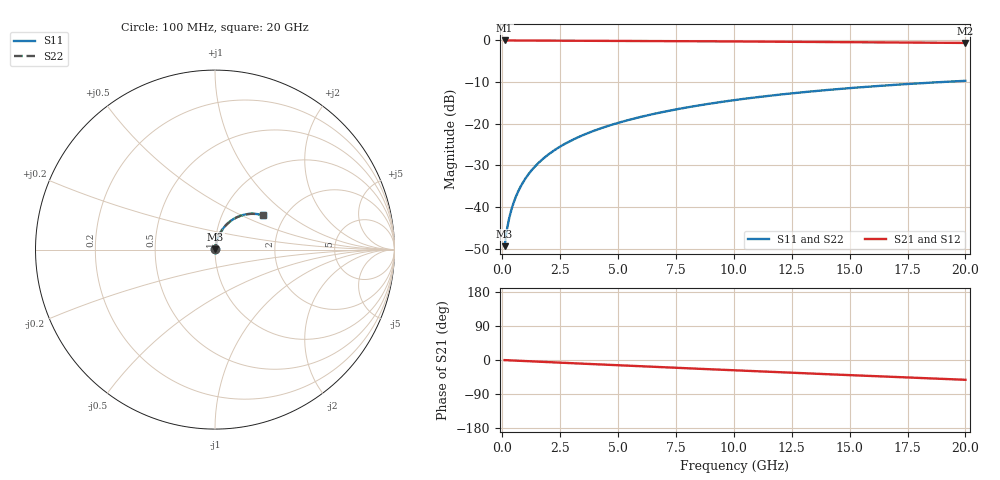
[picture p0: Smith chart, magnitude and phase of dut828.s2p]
! Touchstone file exported from HFSS 2026.1.0
!  File:  C:/ffzhzh/LocalFiles/Ansys_Project_Files/temp_train_BSMRDL_828_1783170163_55132.aedt
!  Generated:  09:04:06 PM Jul  4, 2026
!  Design:  BSMRDL
!  Project:  temp_train_BSMRDL_828_1783170163_55132
! Variables:
!  h_bsmrdl = 5.93um
!  h_ox = 20um
!  h_rdl = 5um
!  h_sub = 80um
!  h_tmrdl = 5um
!  h_tsv = 80um
!  h_via = 3um
!  l_bsmrdl = 868.92um
!  l_sub = 1268.92um
!  l_tmrdl = 200um
!  m_sub = 200um
!  pitch = 43.47um
!  r_tsv = 6um
!  s_tmrdl = 10um
!  w_bsmrdl = 24.48um
!  w_sub = 500um
!  w_tmrdl = 12um
!  x_tsv_center1 = 206um
!  x_tsv_center2 = 1099.4um
!  x_tsv_center3 = 1311.4um
!  x_tsv_center4 = 2204.8um
!  x_tsv_center5 = 2416.8um
!  x_tsv_center6 = 3310.2um
# GHz S MA R 50.000000
! Terminal data exported
! Port[1] = BSM_RDL1_1_T1
! Port[2] = BSM_RDL1_1_T2
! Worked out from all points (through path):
!   200 points, 100 MHz to 20 GHz, reference 50 ohm
!   highest |S21| = -0.02 dB at 100 MHz (marker M1); lowest = -0.6 dB at 20 GHz (marker M2)
!   group delay of S21, straight-line fit = 7.24 ps
!   lowest |S11| = -49.3 dB at 100 MHz (marker M3), VSWR 1.01, Z = 50.2 + j0.247 ohm
!   |S11| at or under -10 dB: start of sweep to 18.94 GHz
!   |S22| runs from -49.3 to -9.7 dB; largest |S21 - S12| = 3.8e-14
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0.1  0.003409 46.1  0.9976 -0.3  0.9976 -0.3  0.003409 46.1
! Gamma 0 0 0 0
! Port Impedance 50 0 50 0
0.2  0.005405 60.9  0.9974 -0.6  0.9974 -0.6  0.005405 60.9
0.3  0.007444 67.4  0.9972 -0.9  0.9972 -0.9  0.007444 67.3
0.4  0.009491 71.1  0.9971 -1.2  0.9971 -1.2  0.009492 71.1
0.5  0.01156 73.6  0.997 -1.4  0.997 -1.4  0.01156 73.6
0.6  0.01364 75.3  0.9969 -1.7  0.9969 -1.7  0.01364 75.3
0.8  0.01784 77.4  0.9967 -2.3  0.9967 -2.3  0.01784 77.4
1.1  0.02418 78.7  0.9963 -3.1  0.9963 -3.1  0.02418 78.7
1.5  0.03261 79.1  0.9957 -4.2  0.9957 -4.2  0.03261 79.1
1.8  0.03889 78.9  0.9952 -5.1  0.9952 -5.1  0.03889 78.9
2.1  0.04512 78.5  0.9946 -5.9  0.9946 -5.9  0.04512 78.5
2.7  0.0574 77.4  0.9933 -7.6  0.9933 -7.6  0.0574 77.3
3.5  0.07342 75.6  0.9914 -9.8  0.9914 -9.8  0.07342 75.6
4.2  0.08713 73.9  0.9895 -11.7  0.9895 -11.7  0.08713 73.9
5  0.1025 72.0  0.9873 -13.8  0.9873 -13.8  0.1025 72.0
5.9  0.1194 69.9  0.9848 -16.3  0.9848 -16.3  0.1194 69.8
6.8  0.136 67.7  0.982 -18.7  0.982 -18.7  0.136 67.6
8.3  0.1628 64.0  0.9771 -22.7  0.9771 -22.7  0.1628 64.0
10.1  0.1935 59.6  0.9707 -27.4  0.9707 -27.4  0.1935 59.5
13.4  0.245 51.5  0.9579 -35.9  0.9579 -35.9  0.2451 51.4
16.7  0.2899 43.6  0.9446 -44.2  0.9446 -44.2  0.29 43.4
20  0.3276 35.8  0.9318 -52.2  0.9318 -52.2  0.3277 35.6
